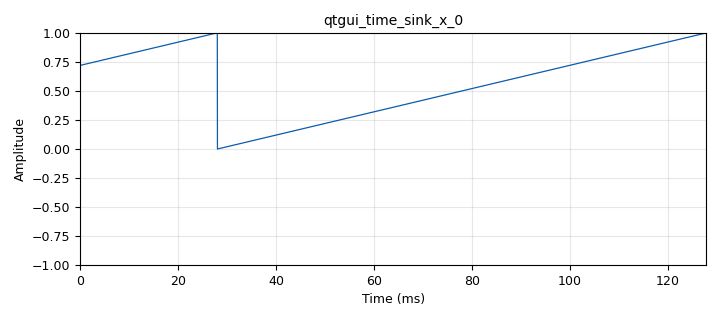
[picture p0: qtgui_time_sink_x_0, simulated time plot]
options:
  parameters:
    author: Marcelo Doallo
    generate_options: qt_gui
    id: Integrate_Test
    output_language: python
    title: Integrate Block Test
  states: {}

blocks:
- name: samp_rate
  id: variable
  parameters:
    value: '32000'
  states: {}
- name: analog_sig_source_x_0
  id: analog_sig_source_x
  parameters:
    amp: '1'
    freq: '10'
    offset: '0'
    phase: '0'
    samp_rate: samp_rate
    type: float
    waveform: analog.GR_SAW_WAVE
  states: {}
- name: blocks_integrate_xx_0
  id: blocks_integrate_xx
  parameters:
    decim: samp_rate
    type: float
  states: {}
- name: blocks_throttle_0
  id: blocks_throttle
  parameters:
    samples_per_second: samp_rate
    type: float
  states: {}
- name: qtgui_number_sink_0
  id: qtgui_number_sink
  parameters:
    comment: 0,0,1,1
    factor1: 1/samp_rate
    graph_type: qtgui.NUM_GRAPH_NONE
    gui_hint: 0,0,1,1
    label1: '""'
    name: 'Integrate:'
    type: float
    update_time: '0.1'
  states: {}
- name: qtgui_time_sink_x_0
  id: qtgui_time_sink_x
  parameters:
    comment: 1,0,1,1
    gui_hint: 1,0,1,1
    size: 1024*4
    srate: samp_rate
    tr_mode: qtgui.TRIG_MODE_AUTO
    type: float
  states: {}

connections:
- [analog_sig_source_x_0, '0', blocks_integrate_xx_0, '0']
- [analog_sig_source_x_0, '0', blocks_throttle_0, '0']
- [analog_sig_source_x_0, '0', qtgui_time_sink_x_0, '0']
- [blocks_integrate_xx_0, '0', qtgui_number_sink_0, '0']

metadata:
  file_format: 1
